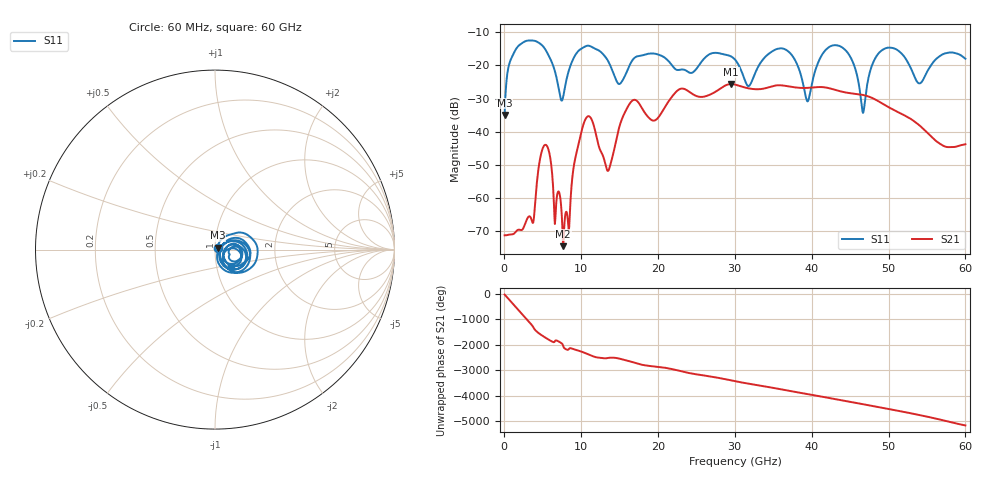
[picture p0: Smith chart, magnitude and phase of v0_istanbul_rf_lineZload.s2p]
! TOUCHSTONE file generated by CST MICROWAVE STUDIO
! Date and time: Thu Nov  5 17:02:14 2026
! Project name: v0_istanbul_rf_line+Zload.cst
! Parameters = {LN_THICKNESS=0.000275; RG=50; RS=25; SILICON_THICKNESS=0.55}
! Header version: 2024
! Port assignment regex: !\s*Touchstone port\s*([0-9]+)\s*=\s*(CST MWS port|CST DES external port|CST DES block port)\s*(.+)\s* \(\"(.*)\"\)(\s*mode\s*([0-9]+))?.*
! Touchstone port assignment:
! Touchstone port 1 = CST MWS port 1 ("")
! Touchstone port 2 = CST MWS port 3 ("")
# GHz S MA R 50
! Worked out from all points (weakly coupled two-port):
!   1000 points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, 60 MHz to 60 GHz, reference 50 ohm
!   highest |S21| = -25.63 dB at 29.52 GHz (marker M1); lowest = -74.6 dB at 7.68 GHz (marker M2)
!   lowest |S11| = -35.0 dB at 60 MHz (marker M3), VSWR 1.04, Z = 51.4 + j1.12 ohm
!   |S11| at or under -10 dB: start of sweep to end of sweep
!   S12 and S22 are empty: the file has one direction only
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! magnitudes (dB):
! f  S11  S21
! 60 MHz  -35.0  -71.3
! 1.02 GHz  -17.4  -71.0
! 3.66 GHz  -12.5  -67.3
! 5.34 GHz  -15.1  -44.0
! 7.68 GHz  -29.5  -74.6
! 10.08 GHz  -14.9  -39.8
! 11.28 GHz  -14.3  -35.9
! 13.5 GHz  -18.6  -51.9
! 15 GHz  -25.6  -38.4
! 16.56 GHz  -18.9  -30.9
! 20.04 GHz  -16.7  -35.8
! 29.52 GHz  -17.3  -25.6
! 30.06 GHz  -18.3  -25.8
! 31.8 GHz  -26.2  -26.9
! 36.36 GHz  -15.0  -26.1
! 40.02 GHz  -25.7  -26.7
! 43.62 GHz  -14.1  -27.8
! 46.68 GHz  -34.4  -28.9
! 48.06 GHz  -18.8  -30.0
! 50.04 GHz  -14.6  -32.7
! 54 GHz  -25.4  -38.1
! 60 GHz  -18.0  -43.8
